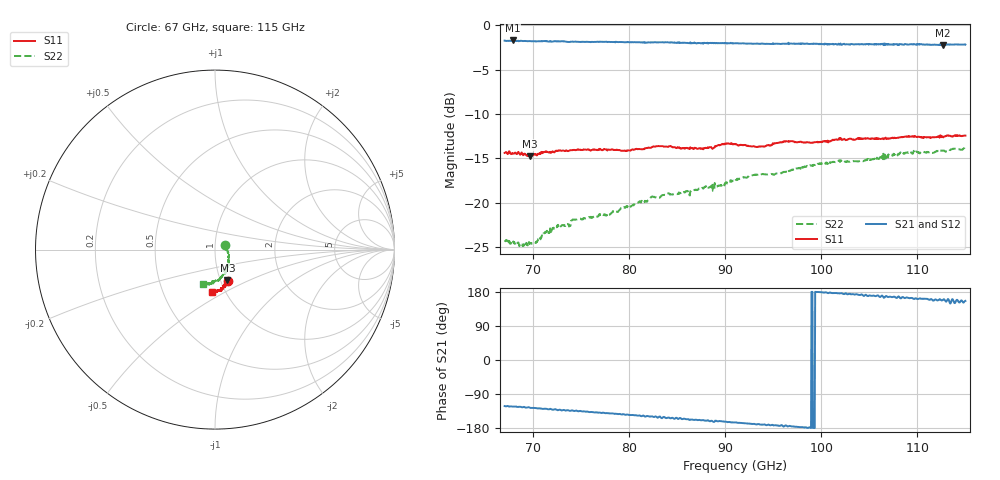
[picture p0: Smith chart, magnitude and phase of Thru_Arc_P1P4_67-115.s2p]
!Keysight Technologies,N5247B,MY61256062,A.16.20.04
!Date: Tuesday, November 18, 2025 10:29:44
!Correction: S11(C  2-Port  )
!S21(C  2-Port  )
!S12(C  2-Port  )
!S22(C  2-Port  )
!S2P File: Measurements: S11, S21, S12, S22:
# Hz S  dB  R 50
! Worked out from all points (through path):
!   1001 points, 67 GHz to 115 GHz, reference 50 ohm
!   highest |S21| = -1.72 dB at 67.86 GHz (marker M1); lowest = -2.3 dB at 112.6 GHz (marker M2)
!   group delay of S21, straight-line fit = 4.97 ps
!   lowest |S11| = -14.8 dB at 69.64 GHz (marker M3), VSWR 1.45, Z = 54.1 - j18.9 ohm
!   |S11| at or under -10 dB: start of sweep to end of sweep
!   |S22| runs from -24.9 to -13.7 dB; largest |S21 - S12| = 1.2
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6.7e10  -14.38 -67.2  -1.74 -121.6  -1.84 -66.5  -24.22 22.2
6.7864e10  -14.47 -67.5  -1.72 -123.0  -1.77 -67.5  -24.56 22.1
6.964e10  -14.78 -67.6  -1.79 -126.2  -1.80 -69.1  -24.55 6.1
7.2328e10  -14.17 -68.3  -1.82 -130.1  -1.81 -72.7  -22.78 -10.0
7.5016e10  -14.05 -68.5  -1.88 -135.5  -1.84 -75.3  -21.86 -17.6
7.78e10  -14.01 -70.6  -1.87 -140.5  -1.85 -78.3  -21.38 -30.0
8.236e10  -13.72 -71.2  -1.94 -148.9  -1.92 -83.0  -19.29 -43.0
8.3032e10  -13.61 -72.4  -1.94 -150.9  -1.93 -82.9  -19.45 -43.6
8.7544e10  -13.89 -74.6  -2.02 -158.9  -1.99 -88.2  -18.35 -56.2
8.86e10  -13.88 -74.9  -1.99 -160.6  -1.98 -90.9  -18.23 -64.2
9.1e10  -13.37 -75.8  -2.05 -164.8  -2.02 -91.7  -17.55 -62.6
9.3352e10  -13.69 -77.6  -2.08 -169.2  -2.05 -94.7  -16.85 -67.5
9.628e10  -13.09 -78.8  -2.09 -172.5  -2.06 -98.6  -16.51 -73.6
9.9016e10  -13.23 -80.4  -2.12 179.7  -2.07 -99.1  -15.80 -79.5
1.04632e11  -12.74 -85.3  -2.16 172.3  -2.15 -106.6  -15.23 -88.3
1.07032e11  -12.78 -87.1  -2.14 166.5  -2.14 -108.6  -14.65 -94.8
1.09816e11  -12.54 -89.6  -2.20 162.8  -2.14 -112.0  -14.27 -99.3
1.10824e11  -12.60 -89.7  -2.19 161.5  -2.16 -113.6  -14.33 -100.2
1.11832e11  -12.61 -90.8  -2.20 159.6  -2.21 -114.5  -14.28 -101.7
1.12648e11  -12.56 -91.5  -2.27 158.3  -2.19 -114.9  -14.14 -102.3
1.13656e11  -12.54 -93.3  -2.19 160.5  -2.18 -120.0  -13.95 -106.7
1.15e11  -12.43 -94.3  -2.18 156.1  -2.19 -119.7  -13.75 -109.3
